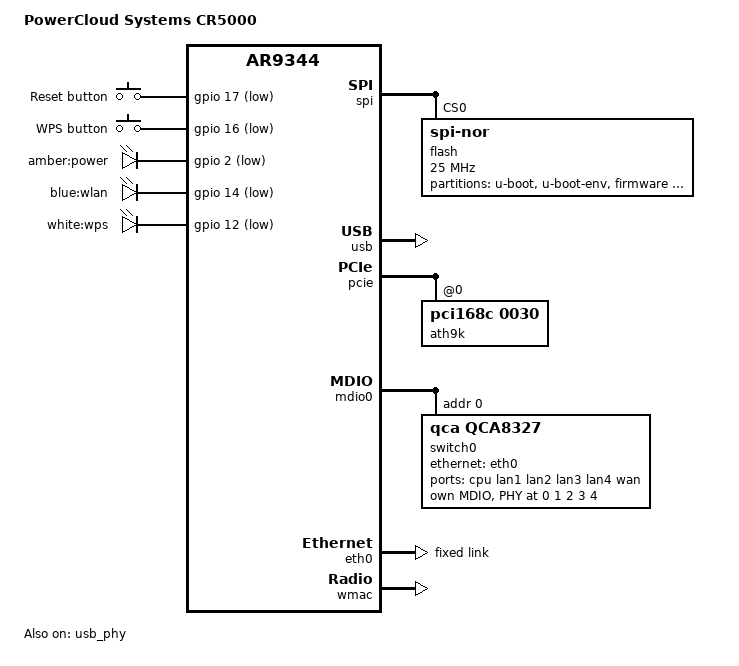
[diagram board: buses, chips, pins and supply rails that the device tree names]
// SPDX-License-Identifier: GPL-2.0-or-later OR MIT

#include "ar9344.dtsi"

#include <dt-bindings/gpio/gpio.h>
#include <dt-bindings/input/input.h>

/ {
	model = "PowerCloud Systems CR5000";
	compatible = "pcs,cr5000", "qca,ar9344";

	aliases {
		led-boot = &led_power;
		led-failsafe = &led_power;
		led-running = &led_power;
		led-upgrade = &led_power;
	};

	keys {
		compatible = "gpio-keys";

		pinctrl-names = "default";
		pinctrl-0 = <&jtag_disable_pins>;

		reset {
			label = "Reset button";
			linux,code = <KEY_RESTART>;
			gpios = <&gpio 17 GPIO_ACTIVE_LOW>;
			debounce-interval = <60>;
		};

		wps {
			label = "WPS button";
			linux,code = <KEY_WPS_BUTTON>;
			gpios = <&gpio 16 GPIO_ACTIVE_LOW>;
			debounce-interval = <60>;
		};
	};

	leds {
		compatible = "gpio-leds";

		led_power: power {
			label = "amber:power";
			gpios = <&gpio 2 GPIO_ACTIVE_LOW>,
				<&gpio 4 GPIO_ACTIVE_LOW>;
			default-state = "on";
		};

		wlan2g {
			label = "blue:wlan";
			gpios = <&gpio 14 GPIO_ACTIVE_LOW>;
			linux,default-trigger = "phy0tpt";
		};

		wps_white {
			label = "white:wps";
			gpios = <&gpio 12 GPIO_ACTIVE_LOW>;
		};
	};
};

&ref {
	clock-frequency = <25000000>;
};

&spi {
	status = "okay";

	flash@0 {
		compatible = "jedec,spi-nor";
		reg = <0>;
		spi-max-frequency = <25000000>;

		partitions {
			compatible = "fixed-partitions";
			#address-cells = <1>;
			#size-cells = <1>;

			uboot: partition@0 {
				label = "u-boot";
				reg = <0x000000 0x040000>;
				read-only;
			};

			partition@40000 {
				label = "u-boot-env";
				reg = <0x040000 0x010000>;
				read-only;
			};

			partition@50000 {
				compatible = "denx,uimage";
				label = "firmware";
				reg = <0x050000 0x07a0000>;
			};

			art: partition@7f0000 {
				label = "art";
				reg = <0x7f0000 0x010000>;
				read-only;
			};
		};
	};
};

&usb {
	status = "okay";
	#address-cells = <1>;
	#size-cells = <0>;

	hub_port1: port@1 {
		reg = <1>;
		#trigger-source-cells = <0>;
	};
};

&usb_phy {
	status = "okay";
};

&pcie {
	status = "okay";

	ath9k: wifi@0,0 {
		compatible = "pci168c,0030";
		reg = <0x0000 0 0 0 0>;
		nvmem-cells = <&macaddr_art_5002>;
		nvmem-cell-names = "mac-address";
		#gpio-cells = <2>;
		gpio-controller;
	};
};

&mdio0 {
	status = "okay";

	phy-mask = <0>;

	switch0@10 {
		compatible = "qca,qca8327";
		#address-cells = <1>;
		#size-cells = <0>;

		reg = <0>;
		qca,ignore-power-on-sel;
		qca,led-open-drain;

		ports {
			#address-cells = <1>;
			#size-cells = <0>;

			port@0 {
				reg = <0>;
				label = "cpu";
				ethernet = <&eth0>;
				phy-mode = "rgmii-id";

				fixed-link {
					speed = <1000>;
					full-duplex;
				};
			};

			port@1 {
				reg = <1>;
				label = "lan1";
				phy-mode = "internal";
				phy-handle = <&phy_port1>;
			};

			port@2 {
				reg = <2>;
				label = "lan2";
				phy-mode = "internal";
				phy-handle = <&phy_port2>;
			};

			port@3 {
				reg = <3>;
				label = "lan3";
				phy-mode = "internal";
				phy-handle = <&phy_port3>;
			};

			port@4 {
				reg = <4>;
				label = "lan4";
				phy-mode = "internal";
				phy-handle = <&phy_port4>;
			};

			port@5 {
				reg = <5>;
				label = "wan";
				phy-mode = "internal";
				phy-handle = <&phy_port5>;
			};
		};

		mdio {
			#address-cells = <1>;
			#size-cells = <0>;

			phy_port1: phy@0 {
				reg = <0>;
			};

			phy_port2: phy@1 {
				reg = <1>;
			};

			phy_port3: phy@2 {
				reg = <2>;
			};

			phy_port4: phy@3 {
				reg = <3>;
			};

			phy_port5: phy@4 {
				reg = <4>;
			};
		};
	};
};

&eth0 {
	#address-cells = <1>;
	#size-cells = <0>;
	status = "okay";

	/* default for ar934x, except for 1000M */
	pll-data = <0x06000000 0x00000101 0x00001616>;

	nvmem-cells = <&macaddr_art_0>;
	nvmem-cell-names = "mac-address";

	fixed-link {
		speed = <1000>;
		full-duplex;
	};
};

&wmac {
	status = "okay";

	mtd-cal-data = <&art 0x1000>;
};

&art {
	compatible = "nvmem-cells";
	#address-cells = <1>;
	#size-cells = <1>;

	macaddr_art_0: macaddr@0 {
		reg = <0x0 0x6>;
	};

	macaddr_art_5002: macaddr@5002 {
		reg = <0x5002 0x6>;
	};
};
